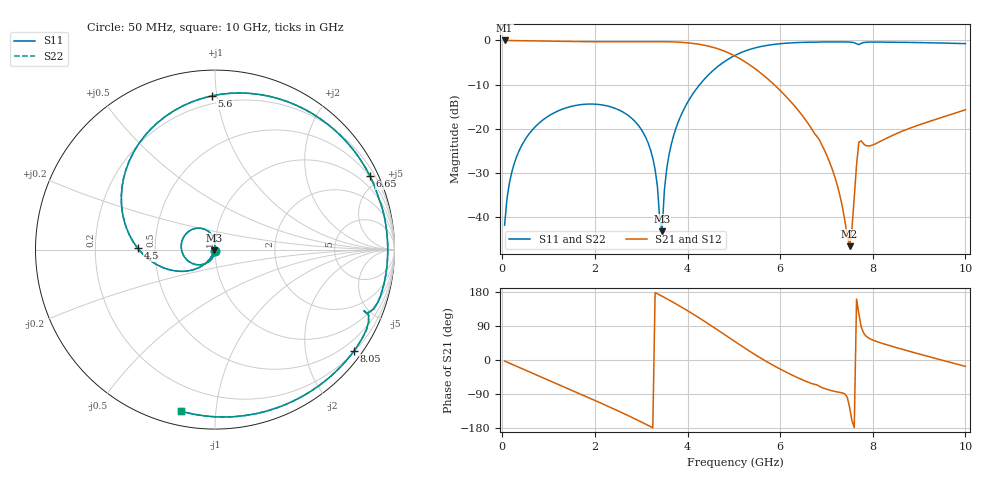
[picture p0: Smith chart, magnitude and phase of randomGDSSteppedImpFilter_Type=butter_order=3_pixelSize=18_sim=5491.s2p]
! freq	dB(S11)	phase(S11)	dB(S12)	phase(S12)
!  dB(S21)	phase(S21)	dB(S22)	phase(S22)
!S-par simulation data
#  GHz  S  DB  R 50
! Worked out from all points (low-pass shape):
!   200 points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, 50 MHz to 10 GHz, reference 50 ohm
!   highest |S21| = 0.00 dB at 50 MHz (marker M1); lowest = -46.7 dB at 7.5 GHz (marker M2)
!   |S21| within 3 dB of the highest: start of sweep to 4.922 GHz
!   lowest |S11| = -43.3 dB at 3.45 GHz (marker M3), VSWR 1.01, Z = 49.4 - j0.365 ohm
!   |S11| at or under -10 dB: start of sweep to 4.264 GHz
!   |S22| runs from -43.3 to -0.3 dB; largest |S21 - S12| = 0
!   S11 on the Smith chart (normalised r, x): 50 MHz: 1.00, -0.02; 4.5 GHz: 0.40, +0.01; 5.6 GHz: 0.15, +0.97; 6.65 GHz: 0.46, +4.40; 8.05 GHz: 0.22, -3.05; 10 GHz: 0.07, -0.81
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0.05  -41.91 -91.1  -0.00 -2.7  -0.00 -2.7  -41.91 -91.2
0.2  -30.07 -100.5  -0.02 -10.8  -0.02 -10.8  -30.07 -100.5
0.5  -22.37 -117.2  -0.06 -26.8  -0.06 -26.8  -22.37 -117.2
1.75  -14.50 175.9  -0.27 -93.3  -0.27 -93.3  -14.50 176.0
2.35  -15.09 143.4  -0.29 -125.9  -0.29 -125.9  -15.09 143.5
3  -20.18 106.8  -0.26 -163.4  -0.26 -163.4  -20.18 107.0
3.25  -26.68 93.8  -0.25 -178.8  -0.25 -178.8  -26.68 94.0
3.4  -40.61 106.2  -0.26 171.6  -0.26 171.6  -40.59 106.6
3.45  -43.29 -147.4  -0.27 168.3  -0.27 168.3  -43.26 -147.5
3.55  -29.15 -116.3  -0.29 161.7  -0.29 161.7  -29.15 -116.2
3.7  -21.56 -122.9  -0.34 151.5  -0.34 151.5  -21.57 -122.8
4.5  -7.32 179.0  -1.42 91.4  -1.42 91.4  -7.32 179.1
5.05  -3.27 134.1  -3.67 46.3  -3.67 46.3  -3.27 134.2
5.6  -1.35 91.3  -7.56 3.5  -7.56 3.5  -1.35 91.4
6.65  -0.39 25.4  -19.57 -60.8  -19.57 -60.8  -0.39 25.5
6.7  -0.39 22.7  -20.39 -62.9  -20.39 -62.9  -0.39 22.8
7.15  -0.33 0.4  -29.97 -82.2  -29.97 -82.2  -0.33 0.5
7.5  -0.38 -15.8  -46.67 -125.2  -46.67 -125.2  -0.37 -15.7
7.7  -0.94 -22.4  -23.10 121.4  -23.10 121.4  -0.87 -22.4
8.05  -0.37 -36.1  -23.49 50.2  -23.49 50.2  -0.37 -36.2
8.35  -0.39 -47.5  -21.92 38.4  -21.92 38.4  -0.39 -47.5
10  -0.73 -102.0  -15.73 -16.9  -15.73 -16.9  -0.73 -102.0
